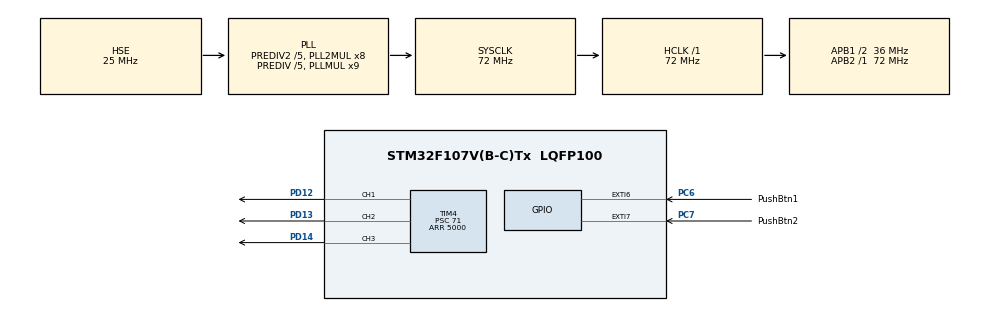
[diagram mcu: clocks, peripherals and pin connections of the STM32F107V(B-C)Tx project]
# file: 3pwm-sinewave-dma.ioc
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Dma.Request0=TIM4_CH1
Dma.Request1=TIM4_CH2
Dma.Request2=TIM4_CH3
Dma.TIM4_CH1.0.Direction=DMA_MEMORY_TO_PERIPH
Dma.TIM4_CH1.0.Instance=DMA1_Channel1
Dma.TIM4_CH1.0.MemDataAlignment=DMA_MDATAALIGN_HALFWORD
Dma.TIM4_CH1.0.MemInc=DMA_MINC_ENABLE
Dma.TIM4_CH1.0.Mode=DMA_CIRCULAR
Dma.TIM4_CH1.0.PeriphDataAlignment=DMA_PDATAALIGN_HALFWORD
Dma.TIM4_CH1.0.PeriphInc=DMA_PINC_DISABLE
Dma.TIM4_CH1.0.Priority=DMA_PRIORITY_LOW
Dma.TIM4_CH2.1.Direction=DMA_MEMORY_TO_PERIPH
Dma.TIM4_CH2.1.Instance=DMA1_Channel4
Dma.TIM4_CH2.1.MemDataAlignment=DMA_MDATAALIGN_HALFWORD
Dma.TIM4_CH2.1.MemInc=DMA_MINC_ENABLE
Dma.TIM4_CH2.1.Mode=DMA_CIRCULAR
Dma.TIM4_CH2.1.PeriphDataAlignment=DMA_PDATAALIGN_HALFWORD
Dma.TIM4_CH2.1.PeriphInc=DMA_PINC_DISABLE
Dma.TIM4_CH2.1.Priority=DMA_PRIORITY_MEDIUM
Dma.TIM4_CH3.2.Direction=DMA_MEMORY_TO_PERIPH
Dma.TIM4_CH3.2.Instance=DMA1_Channel5
Dma.TIM4_CH3.2.MemDataAlignment=DMA_MDATAALIGN_HALFWORD
Dma.TIM4_CH3.2.MemInc=DMA_MINC_ENABLE
Dma.TIM4_CH3.2.Mode=DMA_CIRCULAR
Dma.TIM4_CH3.2.PeriphDataAlignment=DMA_PDATAALIGN_HALFWORD
Dma.TIM4_CH3.2.PeriphInc=DMA_PINC_DISABLE
Dma.TIM4_CH3.2.Priority=DMA_PRIORITY_HIGH
Mcu.Family=STM32F1
Mcu.Name=STM32F107V(B-C)Tx
Mcu.Package=LQFP100
NVIC.DMA1_Channel1_IRQn=true\:0\:0\:false\:false\:true\:false
NVIC.DMA1_Channel4_IRQn=true\:0\:0\:false\:false\:true\:false
NVIC.DMA1_Channel5_IRQn=true\:0\:0\:false\:false\:true\:false
NVIC.EXTI9_5_IRQn=true\:0\:0\:false\:false\:true\:true
NVIC.PriorityGroup=NVIC_PRIORITYGROUP_4
OSC_IN.Mode=HSE-External-Oscillator
OSC_IN.Signal=RCC_OSC_IN
OSC_OUT.Mode=HSE-External-Oscillator
OSC_OUT.Signal=RCC_OSC_OUT
PA13.Mode=Serial_Wire
PA13.Signal=SYS_JTMS-SWDIO
PA14.Mode=Serial_Wire
PA14.Signal=SYS_JTCK-SWCLK
PC6.GPIO_Label=PushBtn1
PC6.GPIO_ModeDefaultEXTI=GPIO_MODE_IT_FALLING
PC6.Signal=GPXTI6
PC7.GPIO_Label=PushBtn2
PC7.Signal=GPXTI7
PD12.Signal=S_TIM4_CH1
PD13.Signal=S_TIM4_CH2
PD14.Signal=S_TIM4_CH3
ProjectManager.HeapSize=0x200
ProjectManager.StackSize=0x400
ProjectManager.TargetToolchain=MDK-ARM V5
RCC.AHBFreq_Value=72000000
RCC.APB1CLKDivider=RCC_HCLK_DIV2
RCC.APB1Freq_Value=36000000
RCC.APB1TimFreq_Value=72000000
RCC.APB2Freq_Value=72000000
RCC.APB2TimFreq_Value=72000000
RCC.HCLKFreq_Value=72000000
RCC.HSEDivPLL=RCC_HSE_PREDIV_DIV5
RCC.HSE_VALUE=25000000
RCC.PLLMUL=RCC_PLL_MUL9
RCC.PLLSourceVirtual=RCC_PLLSOURCE_HSE
RCC.Prediv1Source=RCC_PREDIV1_SOURCE_PLL2
RCC.Prediv2=RCC_HSE_PREDIV2_DIV5
RCC.SYSCLKFreq_VALUE=72000000
RCC.SYSCLKSource=RCC_SYSCLKSOURCE_PLLCLK
RCC.USBFreq_Value=48000000
SH.S_TIM4_CH1.0=TIM4_CH1,PWM Generation1 CH1
SH.S_TIM4_CH2.0=TIM4_CH2,PWM Generation2 CH2
SH.S_TIM4_CH3.0=TIM4_CH3,PWM Generation3 CH3
TIM4.AutoReloadPreload=TIM_AUTORELOAD_PRELOAD_ENABLE
TIM4.Channel-PWM\ Generation1\ CH1=TIM_CHANNEL_1
TIM4.Channel-PWM\ Generation2\ CH2=TIM_CHANNEL_2
TIM4.Channel-PWM\ Generation3\ CH3=TIM_CHANNEL_3
TIM4.OCPolarity_1=TIM_OCPOLARITY_LOW
TIM4.Period=5000
TIM4.Prescaler=71
TIM4.Pulse-PWM\ Generation1\ CH1=49
VP_TIM4_VS_ClockSourceINT.Mode=Internal
board=3pwm-sinewave-dma

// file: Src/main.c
/**
  ******************************************************************************
  * @file           : main.c
  * @brief          : Main program body
  ******************************************************************************
  ** This notice applies to any and all portions of this file
  * that are not between comment pairs USER CODE BEGIN and
  * USER CODE END. Other portions of this file, whether
  * inserted by the user or by software development tools
  * are owned by their respective copyright owners.
  *
  * COPYRIGHT(c) 2018 STMicroelectronics
  *
  * Redistribution and use in source and binary forms, with or without modification,
  * are permitted provided that the following conditions are met:
  *   1. Redistributions of source code must retain the above copyright notice,
  *      this list of conditions and the following disclaimer.
  *   2. Redistributions in binary form must reproduce the above copyright notice,
  *      this list of conditions and the following disclaimer in the documentation
  *      and/or other materials provided with the distribution.
  *   3. Neither the name of STMicroelectronics nor the names of its contributors
  *      may be used to endorse or promote products derived from this software
  *      without specific prior written permission.
  *
  * THIS SOFTWARE IS PROVIDED BY THE COPYRIGHT HOLDERS AND CONTRIBUTORS "AS IS"
  * AND ANY EXPRESS OR IMPLIED WARRANTIES, INCLUDING, BUT NOT LIMITED TO, THE
  * IMPLIED WARRANTIES OF MERCHANTABILITY AND FITNESS FOR A PARTICULAR PURPOSE ARE
  * DISCLAIMED. IN NO EVENT SHALL THE COPYRIGHT HOLDER OR CONTRIBUTORS BE LIABLE
  * FOR ANY DIRECT, INDIRECT, INCIDENTAL, SPECIAL, EXEMPLARY, OR CONSEQUENTIAL
  * DAMAGES (INCLUDING, BUT NOT LIMITED TO, PROCUREMENT OF SUBSTITUTE GOODS OR
  * SERVICES; LOSS OF USE, DATA, OR PROFITS; OR BUSINESS INTERRUPTION) HOWEVER
  * CAUSED AND ON ANY THEORY OF LIABILITY, WHETHER IN CONTRACT, STRICT LIABILITY,
  * OR TORT (INCLUDING NEGLIGENCE OR OTHERWISE) ARISING IN ANY WAY OUT OF THE USE
  * OF THIS SOFTWARE, EVEN IF ADVISED OF THE POSSIBILITY OF SUCH DAMAGE.
  *
  ******************************************************************************
  */
#include "main.h"
#include "stm32f1xx_hal.h"

TIM_HandleTypeDef htim4;
DMA_HandleTypeDef hdma_tim4_ch1;
DMA_HandleTypeDef hdma_tim4_ch2;
DMA_HandleTypeDef hdma_tim4_ch3;

/* USER CODE BEGIN PV */
/* Private variables ---------------------------------------------------------*/
uint32_t pwmsine1p[210]={
2500,2575,2650,2725,2800,2874,2949,3022,
3095,3168,3240,3312,3382,3452,3521,3590,
3657,3723,3788,3852,3914,3976,4036,4094,
4151,4207,4261,4314,4365,4414,4461,4507,
4551,4593,4633,4671,4708,4742,4774,4804,
4832,4858,4882,4904,4924,4941,4956,4969,
4980,4988,4994,4998,5000,4999,4997,4991,
4984,4975,4963,4949,4932,4914,4893,4871,
4846,4819,4789,4758,4725,4690,4652,4613,
4572,4529,4484,4438,4389,4339,4288,4234,
4179,4123,4065,4006,3945,3883,3820,3755,
3690,3623,3556,3487,3418,3347,3276,3204,
3132,3059,2985,2911,2837,2763,2688,2613,
2538,2462,2387,2312,2237,2163,2089,2015,
1941,1868,1796,1724,1653,1582,1513,1444,
1377,1310,1245,1180,1117,1055,994,935,
877,821,766,712,661,611,562,516,
471,428,387,348,310,275,242,211,
181,154,129,107,86,68,51,37,
25,16,9,3,1,0,2,6,
12,20,31,44,59,76,96,118,
142,168,196,226,258,292,329,367,
407,449,493,539,586,635,686,739,
793,849,906,964,1024,1086,1148,1212,
1277,1343,1410,1479,1548,1618,1688,1760,
1832,1905,1978,2051,2126,2200,2275,2350,
2425,2500};

uint32_t pwmsine2p[210];
uint32_t pwmsine3p[210];

static int i = 0;
/* USER CODE END PV */

void SystemClock_Config(void);
static void MX_GPIO_Init(void);
static void MX_DMA_Init(void);
static void MX_TIM4_Init(void);
void HAL_TIM_MspPostInit(TIM_HandleTypeDef *htim);

/* USER CODE BEGIN PFP */
/* Private function prototypes -----------------------------------------------*/

/* USER CODE END PFP */

int main(void)
{
  /* USER CODE BEGIN 1 */

	for( i = 70 ; i < 210 ; i++)
	 pwmsine2p[i - 70] = pwmsine1p[i];

	for( i = 0 ; i < 70 ; i++)
	 pwmsine2p[i + 140] = pwmsine1p[i];

	for( i = 140 ; i < 210 ; i++)
	 pwmsine3p[i - 140] = pwmsine1p[i];

	for( i = 0 ; i < 140 ; i++)
	 pwmsine3p[i + 70] = pwmsine1p[i];

  /* USER CODE END 1 */

  /* MCU Configuration----------------------------------------------------------*/

  /* Reset of all peripherals, Initializes the Flash interface and the Systick. */
  HAL_Init();

  /* Configure the system clock */
  SystemClock_Config();

  /* Initialize all configured peripherals */
  MX_GPIO_Init();
  MX_DMA_Init();
  MX_TIM4_Init();
  /* USER CODE BEGIN 2 */

	HAL_TIM_OC_Start_DMA(&htim4,TIM_CHANNEL_1,pwmsine1p,210);
	HAL_TIM_OC_Start_DMA(&htim4,TIM_CHANNEL_2,pwmsine2p,210);
	HAL_TIM_OC_Start_DMA(&htim4,TIM_CHANNEL_3,pwmsine3p,210);

  /* USER CODE END 2 */

  /* Infinite loop */
  while (1)
  {

  }

}

void SystemClock_Config(void)
{

  RCC_OscInitTypeDef RCC_OscInitStruct;
  RCC_ClkInitTypeDef RCC_ClkInitStruct;

    /**Initializes the CPU, AHB and APB busses clocks
    */
  RCC_OscInitStruct.OscillatorType = RCC_OSCILLATORTYPE_HSE;
  RCC_OscInitStruct.HSEState = RCC_HSE_ON;
  RCC_OscInitStruct.HSEPredivValue = RCC_HSE_PREDIV_DIV5;
  RCC_OscInitStruct.HSIState = RCC_HSI_ON;
  RCC_OscInitStruct.Prediv1Source = RCC_PREDIV1_SOURCE_PLL2;
  RCC_OscInitStruct.PLL.PLLState = RCC_PLL_ON;
  RCC_OscInitStruct.PLL.PLLSource = RCC_PLLSOURCE_HSE;
  RCC_OscInitStruct.PLL.PLLMUL = RCC_PLL_MUL9;
  RCC_OscInitStruct.PLL2.PLL2State = RCC_PLL2_ON;
  RCC_OscInitStruct.PLL2.PLL2MUL = RCC_PLL2_MUL8;
  RCC_OscInitStruct.PLL2.HSEPrediv2Value = RCC_HSE_PREDIV2_DIV5;
  if (HAL_RCC_OscConfig(&RCC_OscInitStruct) != HAL_OK)
  {
    _Error_Handler(__FILE__, __LINE__);
  }

    /**Initializes the CPU, AHB and APB busses clocks
    */
  RCC_ClkInitStruct.ClockType = RCC_CLOCKTYPE_HCLK|RCC_CLOCKTYPE_SYSCLK
                              |RCC_CLOCKTYPE_PCLK1|RCC_CLOCKTYPE_PCLK2;
  RCC_ClkInitStruct.SYSCLKSource = RCC_SYSCLKSOURCE_PLLCLK;
  RCC_ClkInitStruct.AHBCLKDivider = RCC_SYSCLK_DIV1;
  RCC_ClkInitStruct.APB1CLKDivider = RCC_HCLK_DIV2;
  RCC_ClkInitStruct.APB2CLKDivider = RCC_HCLK_DIV1;

  if (HAL_RCC_ClockConfig(&RCC_ClkInitStruct, FLASH_LATENCY_2) != HAL_OK)
  {
    _Error_Handler(__FILE__, __LINE__);
  }

    /**Configure the Systick interrupt time
    */
  HAL_SYSTICK_Config(HAL_RCC_GetHCLKFreq()/1000);

    /**Configure the Systick
    */
  HAL_SYSTICK_CLKSourceConfig(SYSTICK_CLKSOURCE_HCLK);

    /**Configure the Systick interrupt time
    */
  __HAL_RCC_PLLI2S_ENABLE();

  /* SysTick_IRQn interrupt configuration */
  HAL_NVIC_SetPriority(SysTick_IRQn, 0, 0);
}

/* TIM4 init function */
static void MX_TIM4_Init(void)
{

  TIM_ClockConfigTypeDef sClockSourceConfig;
  TIM_MasterConfigTypeDef sMasterConfig;
  TIM_OC_InitTypeDef sConfigOC;

  htim4.Instance = TIM4;
  htim4.Init.Prescaler = 71;
  htim4.Init.CounterMode = TIM_COUNTERMODE_UP;
  htim4.Init.Period = 5000;
  htim4.Init.ClockDivision = TIM_CLOCKDIVISION_DIV1;
  htim4.Init.AutoReloadPreload = TIM_AUTORELOAD_PRELOAD_ENABLE;
  if (HAL_TIM_Base_Init(&htim4) != HAL_OK)
  {
    _Error_Handler(__FILE__, __LINE__);
  }

  sClockSourceConfig.ClockSource = TIM_CLOCKSOURCE_INTERNAL;
  if (HAL_TIM_ConfigClockSource(&htim4, &sClockSourceConfig) != HAL_OK)
  {
    _Error_Handler(__FILE__, __LINE__);
  }

  if (HAL_TIM_PWM_Init(&htim4) != HAL_OK)
  {
    _Error_Handler(__FILE__, __LINE__);
  }

  sMasterConfig.MasterOutputTrigger = TIM_TRGO_RESET;
  sMasterConfig.MasterSlaveMode = TIM_MASTERSLAVEMODE_DISABLE;
  if (HAL_TIMEx_MasterConfigSynchronization(&htim4, &sMasterConfig) != HAL_OK)
  {
    _Error_Handler(__FILE__, __LINE__);
  }

  sConfigOC.OCMode = TIM_OCMODE_PWM1;
  sConfigOC.Pulse = 49;
  sConfigOC.OCPolarity = TIM_OCPOLARITY_LOW;
  sConfigOC.OCFastMode = TIM_OCFAST_DISABLE;
  if (HAL_TIM_PWM_ConfigChannel(&htim4, &sConfigOC, TIM_CHANNEL_1) != HAL_OK)
  {
    _Error_Handler(__FILE__, __LINE__);
  }

  sConfigOC.Pulse = 0;
  sConfigOC.OCPolarity = TIM_OCPOLARITY_HIGH;
  if (HAL_TIM_PWM_ConfigChannel(&htim4, &sConfigOC, TIM_CHANNEL_2) != HAL_OK)
  {
    _Error_Handler(__FILE__, __LINE__);
  }

  if (HAL_TIM_PWM_ConfigChannel(&htim4, &sConfigOC, TIM_CHANNEL_3) != HAL_OK)
  {
    _Error_Handler(__FILE__, __LINE__);
  }

  HAL_TIM_MspPostInit(&htim4);

}

static void MX_DMA_Init(void)
{
  /* DMA controller clock enable */
  __HAL_RCC_DMA1_CLK_ENABLE();

  /* DMA interrupt init */
  /* DMA1_Channel1_IRQn interrupt configuration */
  HAL_NVIC_SetPriority(DMA1_Channel1_IRQn, 0, 0);
  HAL_NVIC_EnableIRQ(DMA1_Channel1_IRQn);
  /* DMA1_Channel4_IRQn interrupt configuration */
  HAL_NVIC_SetPriority(DMA1_Channel4_IRQn, 0, 0);
  HAL_NVIC_EnableIRQ(DMA1_Channel4_IRQn);
  /* DMA1_Channel5_IRQn interrupt configuration */
  HAL_NVIC_SetPriority(DMA1_Channel5_IRQn, 0, 0);
  HAL_NVIC_EnableIRQ(DMA1_Channel5_IRQn);

}

/** Configure pins as
        * Analog
        * Input
        * Output
        * EVENT_OUT
        * EXTI
*/
static void MX_GPIO_Init(void)
{

  GPIO_InitTypeDef GPIO_InitStruct;

  /* GPIO Ports Clock Enable */
  __HAL_RCC_GPIOD_CLK_ENABLE();
  __HAL_RCC_GPIOC_CLK_ENABLE();
  __HAL_RCC_GPIOA_CLK_ENABLE();

  /*Configure GPIO pin : PushBtn1_Pin */
  GPIO_InitStruct.Pin = PushBtn1_Pin;
  GPIO_InitStruct.Mode = GPIO_MODE_IT_FALLING;
  GPIO_InitStruct.Pull = GPIO_NOPULL;
  HAL_GPIO_Init(PushBtn1_GPIO_Port, &GPIO_InitStruct);

  /*Configure GPIO pin : PushBtn2_Pin */
  GPIO_InitStruct.Pin = PushBtn2_Pin;
  GPIO_InitStruct.Mode = GPIO_MODE_IT_RISING;
  GPIO_InitStruct.Pull = GPIO_NOPULL;
  HAL_GPIO_Init(PushBtn2_GPIO_Port, &GPIO_InitStruct);

  /* EXTI interrupt init*/
  HAL_NVIC_SetPriority(EXTI9_5_IRQn, 0, 0);
  HAL_NVIC_EnableIRQ(EXTI9_5_IRQn);

}

void _Error_Handler(char *file, int line)
{
  while(1)
  {
  }
}

/************************ (C) COPYRIGHT STMicroelectronics *****END OF FILE****/
